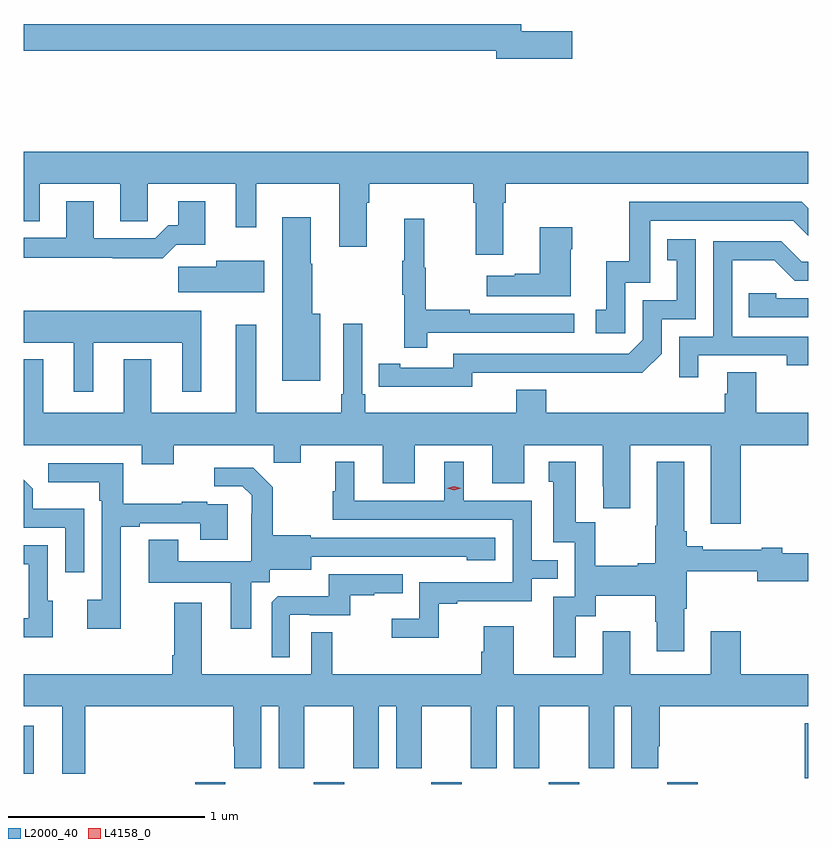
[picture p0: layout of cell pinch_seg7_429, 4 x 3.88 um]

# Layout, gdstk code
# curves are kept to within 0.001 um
import gdstk
lib = gdstk.Library(unit=1e-6, precision=1e-09)
def R(c, l, rs):  # rectangles x0, y0, x1, y1
    for r in rs: c.add(gdstk.rectangle(r[:2], r[2:], *l))
def A(c, l, x, y, w, h, nx, ny, dx, dy):  # array of equal rectangles
    R(c, l, [(x+i*dx, y+j*dy, x+i*dx+w, y+j*dy+h) for i in range(nx) for j in range(ny)])
def P(c, l, *ps):  # polygons
    for p in ps: c.add(gdstk.Polygon(p, *l))
L2000_40 = (2000, 40)
L4158_0 = (4158, 0)

pinch_seg7_429 = lib.new_cell('pinch_seg7_429')
A(pinch_seg7_429, L2000_40, 287.623, 1053.499, 0.155, 0.009, 3, 1, 0.6, 0)
R(pinch_seg7_429, L2000_40, [(287.018,1053.499,287.173,1053.508), (289.427,1053.499,289.583,1053.508), (290.129,1053.528,290.145,1053.808), (286.145,1053.551,286.195,1053.796)])
P(pinch_seg7_429, L2000_40, [(288.943,1057.34),(288.682,1057.34),(288.682,1057.376),(286.145,1057.376),(286.145,1057.24),(288.554,1057.24),(288.554,1057.198),(288.943,1057.198)],
  [(288.589,1056.464),(288.602,1056.464),(288.602,1056.56),(290.145,1056.56),(290.145,1056.724),(286.145,1056.724),(286.145,1056.37),(286.225,1056.37),(286.225,1056.56),(286.637,1056.56),(286.637,1056.37),(286.776,1056.37),(286.776,1056.56),(287.225,1056.56),(287.225,1056.339),(287.329,1056.339),(287.329,1056.56),(287.753,1056.56),(287.753,1056.24),(287.893,1056.24),(287.893,1056.464),(287.906,1056.464),(287.906,1056.56),(288.437,1056.56),(288.437,1056.464),(288.449,1056.464),(288.449,1056.198),(288.589,1056.198)],
  [(286.922,1056.251),(287.071,1056.251),(287.071,1056.472),(286.931,1056.472),(286.931,1056.349),(286.882,1056.349),(286.815,1056.282),(286.501,1056.282),(286.501,1056.472),(286.361,1056.472),(286.361,1056.285),(286.145,1056.285),(286.145,1056.184),(286.597,1056.184),(286.597,1056.182),(286.853,1056.182)],
  [(289.212,1056.057),(289.341,1056.057),(289.341,1056.372),(290.07,1056.372),(290.145,1056.297),(290.145,1056.435),(290.112,1056.468),(289.233,1056.468),(289.233,1056.166),(289.115,1056.166),(289.115,1055.919),(289.062,1055.919),(289.062,1055.799),(289.212,1055.799)],
  [(287.656,1055.899),(287.616,1055.899),(287.616,1056.152),(287.608,1056.152),(287.608,1056.391),(287.462,1056.391),(287.462,1055.555),(287.656,1055.555)],
  [(288.203,1055.802),(288.952,1055.802),(288.952,1055.898),(288.419,1055.898),(288.419,1055.918),(288.196,1055.918),(288.196,1056.132),(288.188,1056.132),(288.188,1056.382),(288.086,1056.382),(288.086,1056.169),(288.075,1056.169),(288.075,1055.995),(288.086,1055.995),(288.086,1055.724),(288.203,1055.724)],
  [(288.934,1056.227),(288.942,1056.227),(288.942,1056.34),(288.776,1056.34),(288.776,1056.101),(288.65,1056.101),(288.65,1056.091),(288.507,1056.091),(288.507,1055.987),(288.934,1055.987)],
  [(288.432,1055.598),(289.3,1055.597),(289.398,1055.694),(289.398,1055.871),(289.572,1055.871),(289.572,1056.277),(289.426,1056.277),(289.426,1056.171),(289.475,1056.171),(289.475,1055.967),(289.302,1055.967),(289.302,1055.766),(289.23,1055.694),(288.336,1055.694),(288.336,1055.622),(288.064,1055.622),(288.064,1055.642),(287.956,1055.642),(287.956,1055.526),(288.432,1055.525)],
  [(289.585,1055.685),(290.036,1055.685),(290.036,1055.634),(290.145,1055.634),(290.145,1055.781),(289.758,1055.781),(289.758,1056.17),(289.972,1056.17),(290.076,1056.066),(290.145,1056.066),(290.145,1056.162),(290.113,1056.162),(290.008,1056.267),(289.662,1056.267),(289.662,1055.781),(289.488,1055.781),(289.488,1055.574),(289.585,1055.574)],
  [(287.371,1056.169),(287.126,1056.169),(287.126,1056.137),(286.932,1056.137),(286.932,1056.008),(287.371,1056.008)],
  [(290.145,1055.976),(289.983,1055.976),(289.983,1056.003),(289.843,1056.003),(289.843,1055.88),(290.145,1055.88)],
  [(286.498,1055.75),(286.952,1055.75),(286.952,1055.499),(287.05,1055.499),(287.05,1055.914),(286.145,1055.914),(286.145,1055.75),(286.4,1055.75),(286.4,1055.499),(286.498,1055.499)],
  [(289.802,1055.228),(290.145,1055.228),(290.145,1055.392),(289.881,1055.392),(289.881,1055.6),(289.733,1055.6),(289.733,1055.49),(289.721,1055.49),(289.721,1055.392),(288.809,1055.392),(288.809,1055.509),(288.656,1055.509),(288.656,1055.392),(287.885,1055.392),(287.885,1055.488),(287.871,1055.488),(287.871,1055.848),(287.775,1055.848),(287.775,1055.488),(287.763,1055.488),(287.763,1055.392),(287.329,1055.392),(287.329,1055.842),(287.225,1055.842),(287.225,1055.392),(286.795,1055.392),(286.795,1055.665),(286.655,1055.665),(286.655,1055.392),(286.243,1055.392),(286.243,1055.665),(286.145,1055.665),(286.145,1055.228),(286.745,1055.228),(286.745,1055.129),(286.909,1055.129),(286.909,1055.228),(287.419,1055.228),(287.419,1055.138),(287.557,1055.138),(287.557,1055.228),(287.975,1055.228),(287.975,1055.034),(288.139,1055.034),(288.139,1055.228),(288.533,1055.228),(288.533,1055.034),(288.697,1055.034),(288.697,1055.228),(289.097,1055.228),(289.097,1055.017),(289.1,1055.017),(289.1,1054.905),(289.237,1054.905),(289.237,1055.228),(289.649,1055.228),(289.649,1054.827),(289.802,1054.827)],
  [(288.261,1054.419),(288.355,1054.419),(288.355,1054.431),(288.735,1054.431),(288.735,1054.545),(288.869,1054.545),(288.869,1054.641),(288.735,1054.641),(288.735,1054.944),(288.388,1054.944),(288.388,1055.143),(288.29,1055.143),(288.29,1054.944),(287.83,1054.944),(287.83,1055.143),(287.732,1055.143),(287.732,1054.992),(287.721,1054.992),(287.721,1054.848),(288.639,1054.848),(288.639,1054.527),(288.162,1054.527),(288.162,1054.342),(288.021,1054.342),(288.021,1054.244),(288.261,1054.244)],
  [(288.961,1054.354),(289.063,1054.354),(289.063,1054.46),(289.366,1054.46),(289.366,1054.326),(289.373,1054.326),(289.373,1054.176),(289.513,1054.176),(289.513,1054.394),(289.526,1054.394),(289.526,1054.584),(289.886,1054.584),(289.886,1054.534),(290.145,1054.534),(290.145,1054.676),(290.014,1054.676),(290.014,1054.705),(289.91,1054.705),(289.91,1054.693),(289.609,1054.693),(289.609,1054.712),(289.526,1054.712),(289.526,1054.789),(289.513,1054.789),(289.513,1055.143),(289.373,1055.143),(289.373,1054.817),(289.366,1054.817),(289.366,1054.625),(289.277,1054.625),(289.277,1054.612),(289.059,1054.612),(289.059,1054.835),(288.961,1054.835),(288.961,1055.143),(288.821,1055.143),(288.821,1055.04),(288.845,1055.04),(288.845,1054.731),(288.954,1054.731),(288.954,1054.455),(288.845,1054.455),(288.845,1054.146),(288.961,1054.146)],
  [(286.639,1054.812),(286.735,1054.812),(286.735,1054.83),(287.045,1054.83),(287.045,1054.746),(287.185,1054.746),(287.185,1054.926),(287.081,1054.926),(287.081,1054.939),(286.949,1054.939),(286.949,1054.928),(286.651,1054.928),(286.651,1055.136),(286.269,1055.136),(286.269,1055.039),(286.53,1055.039),(286.53,1054.943),(286.542,1054.943),(286.542,1054.438),(286.467,1054.438),(286.467,1054.29),(286.639,1054.29)],
  [(287.305,1054.528),(287.4,1054.528),(287.4,1054.592),(287.611,1054.592),(287.611,1054.659),(288.405,1054.658),(288.405,1054.64),(288.55,1054.64),(288.55,1054.755),(287.607,1054.755),(287.607,1054.768),(287.415,1054.768),(287.415,1055.013),(287.315,1055.113),(287.115,1055.113),(287.115,1055.019),(287.259,1055.019),(287.306,1054.972),(287.306,1054.877),(287.304,1054.877),(287.304,1054.636),(286.933,1054.636),(286.933,1054.745),(286.781,1054.745),(286.781,1054.526),(287.201,1054.526),(287.201,1054.29),(287.305,1054.29)],
  [(286.452,1054.903),(286.191,1054.903),(286.191,1055.006),(286.145,1055.052),(286.145,1054.806),(286.356,1054.806),(286.356,1054.578),(286.452,1054.578)],
  [(286.291,1054.434),(286.266,1054.434),(286.266,1054.716),(286.145,1054.716),(286.145,1054.62),(286.17,1054.62),(286.17,1054.344),(286.145,1054.344),(286.145,1054.247),(286.291,1054.247)],
  [(287.502,1054.362),(287.602,1054.362),(287.602,1054.359),(287.81,1054.359),(287.81,1054.461),(287.933,1054.461),(287.933,1054.472),(288.077,1054.472),(288.077,1054.569),(287.7,1054.569),(287.7,1054.457),(287.441,1054.457),(287.409,1054.425),(287.409,1054.145),(287.502,1054.145)],
  [(288.556,1053.896),(288.644,1053.896),(288.644,1053.579),(288.775,1053.579),(288.775,1053.896),(289.025,1053.896),(289.025,1053.579),(289.156,1053.579),(289.156,1053.896),(289.244,1053.896),(289.244,1053.579),(289.381,1053.579),(289.381,1053.691),(289.388,1053.691),(289.388,1053.896),(290.145,1053.896),(290.145,1054.06),(289.802,1054.06),(289.802,1054.279),(289.649,1054.279),(289.649,1054.06),(289.237,1054.06),(289.237,1054.279),(289.097,1054.279),(289.097,1054.06),(288.643,1054.06),(288.643,1054.303),(288.491,1054.303),(288.491,1054.173),(288.479,1054.173),(288.479,1054.06),(287.719,1054.06),(287.719,1054.274),(287.61,1054.274),(287.61,1054.06),(287.053,1054.06),(287.053,1054.423),(286.913,1054.423),(286.913,1054.156),(286.901,1054.156),(286.901,1054.06),(286.145,1054.06),(286.145,1053.896),(286.34,1053.896),(286.34,1053.552),(286.457,1053.552),(286.457,1053.896),(287.213,1053.896),(287.213,1053.691),(287.219,1053.691),(287.219,1053.579),(287.356,1053.579),(287.356,1053.896),(287.444,1053.896),(287.444,1053.579),(287.575,1053.579),(287.575,1053.896),(287.825,1053.896),(287.825,1053.579),(287.956,1053.579),(287.956,1053.896),(288.044,1053.896),(288.044,1053.579),(288.175,1053.579),(288.175,1053.896),(288.425,1053.896),(288.425,1053.579),(288.556,1053.579)])
P(pinch_seg7_429, L4158_0, [(288.339,1054.997),(288.303,1055.007),(288.303,1055.007),(288.303,1055.008),(288.339,1055.017),(288.375,1055.008),(288.375,1055.007),(288.375,1055.007)])

lib.write_gds('pinch_seg7_429.gds')
